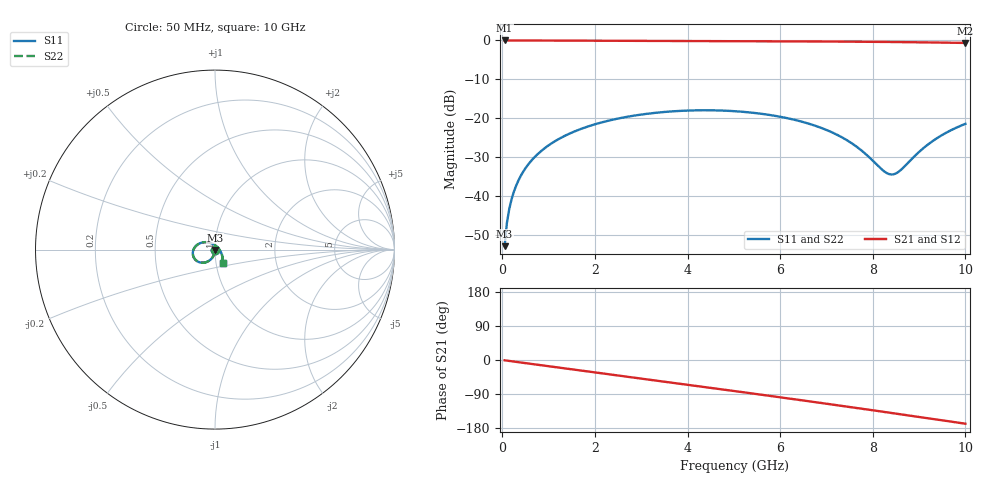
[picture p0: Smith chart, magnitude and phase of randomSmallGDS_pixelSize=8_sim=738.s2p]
! freq	dB(S11)	phase(S11)	dB(S12)	phase(S12)
!  dB(S21)	phase(S21)	dB(S22)	phase(S22)
!S-par simulation data
#  GHz  S  DB  R 50
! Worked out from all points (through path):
!   200 points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, 50 MHz to 10 GHz, reference 50 ohm
!   highest |S21| = 0.00 dB at 50 MHz (marker M1); lowest = -0.6 dB at 10 GHz (marker M2)
!   group delay of S21, straight-line fit = 46.5 ps
!   lowest |S11| = -52.9 dB at 50 MHz (marker M3), VSWR 1.00, Z = 50 - j0.226 ohm
!   |S11| at or under -10 dB: start of sweep to end of sweep
!   |S22| runs from -52.9 to -18.0 dB; largest |S21 - S12| = 0
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0.05  -52.93 -90.6  -0.00 -0.8  -0.00 -0.8  -52.93 -90.6
0.1  -46.90 -91.8  -0.00 -1.7  -0.00 -1.7  -46.90 -91.8
0.15  -43.37 -92.8  -0.00 -2.5  -0.00 -2.5  -43.37 -92.8
0.2  -40.86 -93.8  -0.00 -3.3  -0.00 -3.3  -40.86 -93.8
0.35  -35.98 -96.5  -0.00 -5.8  -0.00 -5.8  -35.98 -96.5
0.5  -32.88 -99.0  -0.01 -8.2  -0.01 -8.2  -32.88 -99.0
0.7  -29.99 -102.4  -0.02 -11.5  -0.02 -11.5  -29.99 -102.4
1  -26.98 -107.4  -0.03 -16.4  -0.03 -16.4  -26.98 -107.4
1.35  -24.54 -113.3  -0.04 -22.1  -0.04 -22.1  -24.54 -113.3
1.75  -22.54 -119.9  -0.05 -28.7  -0.05 -28.7  -22.54 -119.9
2.5  -20.09 -132.3  -0.09 -40.9  -0.09 -40.9  -20.09 -132.3
3.4  -18.51 -147.3  -0.13 -55.5  -0.13 -55.5  -18.51 -147.3
4.25  -17.97 -161.7  -0.16 -69.4  -0.16 -69.4  -17.97 -161.7
5.05  -18.22 -175.8  -0.19 -82.5  -0.19 -82.5  -18.23 -175.8
5.95  -19.52 167.3  -0.22 -97.5  -0.22 -97.5  -19.52 167.3
6.7  -21.72 151.4  -0.26 -110.2  -0.26 -110.2  -21.72 151.4
7.5  -26.09 128.5  -0.31 -124.0  -0.31 -124.0  -26.10 128.5
8.35  -34.38 55.1  -0.39 -138.8  -0.39 -138.8  -34.39 55.1
8.55  -33.85 20.5  -0.41 -142.4  -0.41 -142.4  -33.86 20.5
9.05  -28.15 -27.7  -0.48 -151.2  -0.48 -151.2  -28.15 -27.8
9.35  -25.42 -41.2  -0.53 -156.5  -0.53 -156.5  -25.42 -41.2
10  -21.45 -60.0  -0.64 -168.1  -0.64 -168.1  -21.45 -60.0
